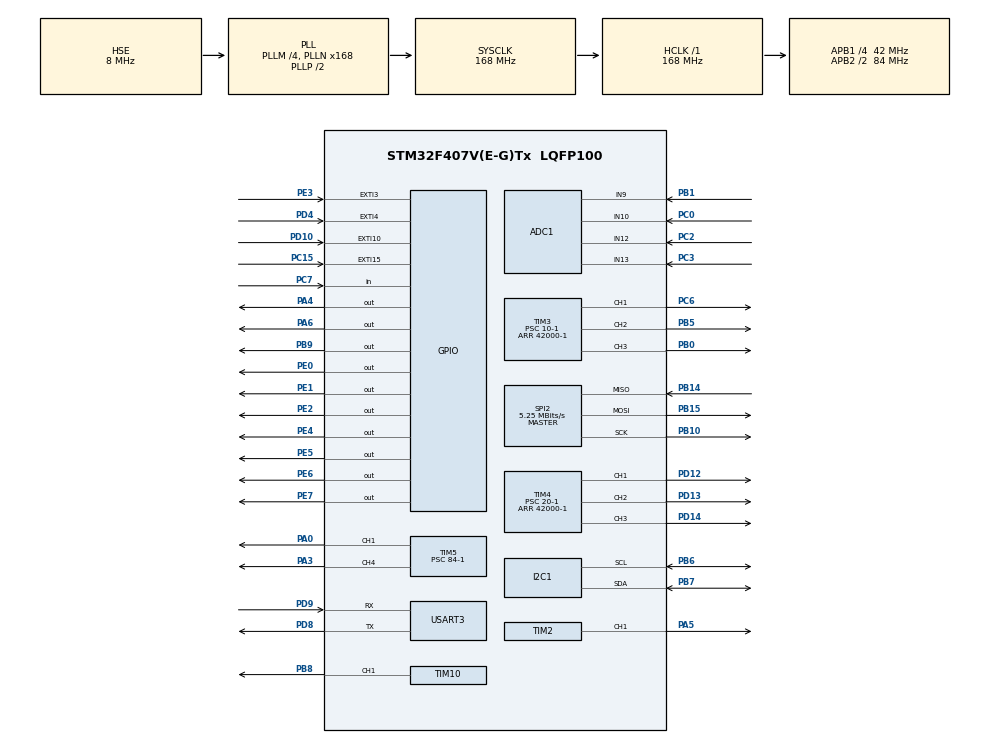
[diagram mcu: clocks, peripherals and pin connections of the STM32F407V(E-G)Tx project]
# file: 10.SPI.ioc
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ADC1.Channel-0\#ChannelRegularConversion=ADC_CHANNEL_10
ADC1.Channel-1\#ChannelRegularConversion=ADC_CHANNEL_12
ADC1.Channel-2\#ChannelRegularConversion=ADC_CHANNEL_13
ADC1.Channel-3\#ChannelRegularConversion=ADC_CHANNEL_9
ADC1.ContinuousConvMode=ENABLE
ADC1.DMAContinuousRequests=ENABLE
ADC1.NbrOfConversion=4
ADC1.NbrOfConversionFlag=1
ADC1.Rank-0\#ChannelRegularConversion=1
ADC1.Rank-1\#ChannelRegularConversion=2
ADC1.Rank-2\#ChannelRegularConversion=3
ADC1.Rank-3\#ChannelRegularConversion=4
ADC1.SamplingTime-0\#ChannelRegularConversion=ADC_SAMPLETIME_84CYCLES
ADC1.SamplingTime-1\#ChannelRegularConversion=ADC_SAMPLETIME_84CYCLES
ADC1.SamplingTime-2\#ChannelRegularConversion=ADC_SAMPLETIME_84CYCLES
ADC1.SamplingTime-3\#ChannelRegularConversion=ADC_SAMPLETIME_84CYCLES
ADC1.ScanConvMode=ENABLE
ADC1.master=1
Dma.ADC1.0.Direction=DMA_PERIPH_TO_MEMORY
Dma.ADC1.0.FIFOMode=DMA_FIFOMODE_DISABLE
Dma.ADC1.0.Instance=DMA2_Stream0
Dma.ADC1.0.MemDataAlignment=DMA_MDATAALIGN_HALFWORD
Dma.ADC1.0.MemInc=DMA_MINC_ENABLE
Dma.ADC1.0.Mode=DMA_CIRCULAR
Dma.ADC1.0.PeriphDataAlignment=DMA_PDATAALIGN_HALFWORD
Dma.ADC1.0.PeriphInc=DMA_PINC_DISABLE
Dma.ADC1.0.Priority=DMA_PRIORITY_LOW
Dma.Request0=ADC1
I2C1.I2C_Mode=I2C_Fast
Mcu.Family=STM32F4
Mcu.Name=STM32F407V(E-G)Tx
Mcu.Package=LQFP100
NVIC.DMA2_Stream0_IRQn=true\:0\:0\:false\:false\:true\:false\:true\:true
NVIC.EXTI15_10_IRQn=true\:0\:0\:false\:true\:true\:5\:true\:true\:true
NVIC.EXTI3_IRQn=true\:0\:0\:false\:true\:true\:3\:true\:true\:true
NVIC.EXTI4_IRQn=true\:0\:0\:false\:true\:true\:4\:true\:true\:true
NVIC.PriorityGroup=NVIC_PRIORITYGROUP_4
NVIC.TIM7_IRQn=true\:0\:0\:false\:true\:true\:2\:true\:true\:true
NVIC.USART3_IRQn=true\:0\:0\:false\:true\:true\:1\:true\:true\:true
PA0-WKUP.Signal=S_TIM5_CH1
PA3.Signal=S_TIM5_CH4
PA4.Signal=GPIO_Output
PA5.Signal=S_TIM2_CH1_ETR
PA6.Signal=GPIO_Output
PB0.Signal=S_TIM3_CH3
PB1.Signal=ADCx_IN9
PB10.Mode=Full_Duplex_Master
PB10.Signal=SPI2_SCK
PB14.Mode=Full_Duplex_Master
PB14.Signal=SPI2_MISO
PB15.Mode=Full_Duplex_Master
PB15.Signal=SPI2_MOSI
PB5.Signal=S_TIM3_CH2
PB6.Mode=I2C
PB6.Signal=I2C1_SCL
PB7.Mode=I2C
PB7.Signal=I2C1_SDA
PB8.Signal=S_TIM10_CH1
PB9.Signal=GPIO_Output
PC0.Signal=ADCx_IN10
PC15-OSC32_OUT.Signal=GPXTI15
PC2.Signal=ADCx_IN12
PC3.Signal=ADCx_IN13
PC6.Signal=S_TIM3_CH1
PC7.Signal=GPIO_Input
PD10.Signal=GPXTI10
PD12.Signal=S_TIM4_CH1
PD13.Signal=S_TIM4_CH2
PD14.Signal=S_TIM4_CH3
PD4.Signal=GPXTI4
PD8.Mode=Asynchronous
PD8.Signal=USART3_TX
PD9.Mode=Asynchronous
PD9.Signal=USART3_RX
PE0.Signal=GPIO_Output
PE1.Signal=GPIO_Output
PE2.Signal=GPIO_Output
PE3.Signal=GPXTI3
PE4.Signal=GPIO_Output
PE5.Signal=GPIO_Output
PE6.Signal=GPIO_Output
PE7.Signal=GPIO_Output
PH0-OSC_IN.Mode=HSE-External-Oscillator
PH0-OSC_IN.Signal=RCC_OSC_IN
PH1-OSC_OUT.Mode=HSE-External-Oscillator
PH1-OSC_OUT.Signal=RCC_OSC_OUT
ProjectManager.HeapSize=0x200
ProjectManager.StackSize=0x400
ProjectManager.TargetToolchain=STM32CubeIDE
RCC.48MHZClocksFreq_Value=84000000
RCC.AHBFreq_Value=168000000
RCC.APB1CLKDivider=RCC_HCLK_DIV4
RCC.APB1Freq_Value=42000000
RCC.APB1TimFreq_Value=84000000
RCC.APB2CLKDivider=RCC_HCLK_DIV2
RCC.APB2Freq_Value=84000000
RCC.APB2TimFreq_Value=168000000
RCC.CortexFreq_Value=168000000
RCC.HCLKFreq_Value=168000000
RCC.HSE_VALUE=8000000
RCC.HSI_VALUE=16000000
RCC.LSE_VALUE=32768
RCC.PLLM=4
RCC.PLLN=168
RCC.PLLSourceVirtual=RCC_PLLSOURCE_HSE
RCC.SYSCLKFreq_VALUE=168000000
RCC.SYSCLKSource=RCC_SYSCLKSOURCE_PLLCLK
RCC.VCOOutputFreq_Value=336000000
SH.ADCx_IN10.0=ADC1_IN10,IN10
SH.ADCx_IN12.0=ADC1_IN12,IN12
SH.ADCx_IN13.0=ADC1_IN13,IN13
SH.ADCx_IN9.0=ADC1_IN9,IN9
SH.S_TIM10_CH1.0=TIM10_CH1,PWM Generation1 CH1
SH.S_TIM2_CH1_ETR.0=TIM2_CH1,PWM Generation1 CH1
SH.S_TIM3_CH1.0=TIM3_CH1,PWM Generation1 CH1
SH.S_TIM3_CH2.0=TIM3_CH2,PWM Generation2 CH2
SH.S_TIM3_CH3.0=TIM3_CH3,PWM Generation3 CH3
SH.S_TIM4_CH1.0=TIM4_CH1,PWM Generation1 CH1
SH.S_TIM4_CH2.0=TIM4_CH2,PWM Generation2 CH2
SH.S_TIM4_CH3.0=TIM4_CH3,PWM Generation3 CH3
SH.S_TIM5_CH1.0=TIM5_CH1,PWM Generation1 CH1
SH.S_TIM5_CH4.0=TIM5_CH4,PWM Generation4 CH4
SPI2.BaudRatePrescaler=SPI_BAUDRATEPRESCALER_8
SPI2.CLKPhase=SPI_PHASE_2EDGE
SPI2.CLKPolarity=SPI_POLARITY_HIGH
SPI2.CalculateBaudRate=5.25 MBits/s
SPI2.Direction=SPI_DIRECTION_2LINES
SPI2.Mode=SPI_MODE_MASTER
SPI2.VirtualType=VM_MASTER
TIM10.Channel=TIM_CHANNEL_1
TIM10.Period=10000-1
TIM10.Prescaler=336-1
TIM10.Pulse=100
TIM2.Channel-PWM\ Generation1\ CH1=TIM_CHANNEL_1
TIM2.Period=1000-1
TIM2.Prescaler=168-1
TIM2.Pulse-PWM\ Generation1\ CH1=500
TIM3.Channel-PWM\ Generation1\ CH1=TIM_CHANNEL_1
TIM3.Channel-PWM\ Generation2\ CH2=TIM_CHANNEL_2
TIM3.Channel-PWM\ Generation3\ CH3=TIM_CHANNEL_3
TIM3.Period=42000-1
TIM3.Prescaler=10-1
TIM3.Pulse-PWM\ Generation1\ CH1=21000-1
TIM3.Pulse-PWM\ Generation2\ CH2=10500-1
TIM3.Pulse-PWM\ Generation3\ CH3=5250-1
TIM4.Channel-PWM\ Generation1\ CH1=TIM_CHANNEL_1
TIM4.Channel-PWM\ Generation2\ CH2=TIM_CHANNEL_2
TIM4.Channel-PWM\ Generation3\ CH3=TIM_CHANNEL_3
TIM4.Period=42000-1
TIM4.Prescaler=20-1
TIM4.Pulse-PWM\ Generation1\ CH1=21000-1
TIM4.Pulse-PWM\ Generation2\ CH2=10500-1
TIM4.Pulse-PWM\ Generation3\ CH3=5250-1
TIM5.Channel-PWM\ Generation1\ CH1=TIM_CHANNEL_1
TIM5.Channel-PWM\ Generation4\ CH4=TIM_CHANNEL_4
TIM5.Period=10000-1
TIM5.Prescaler=84-1
TIM5.Pulse-PWM\ Generation1\ CH1=5000
TIM7.Period=8399
TIM7.Prescaler=9999
USART3.VirtualMode=VM_ASYNC
VP_TIM10_VS_ClockSourceINT.Mode=Enable_Timer
VP_TIM2_VS_ClockSourceINT.Mode=Internal
VP_TIM3_VS_ClockSourceINT.Mode=Internal
VP_TIM4_VS_ClockSourceINT.Mode=Internal
VP_TIM5_VS_ClockSourceINT.Mode=Internal
VP_TIM7_VS_ClockSourceINT.Mode=Enable_Timer
board=custom

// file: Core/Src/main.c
/* USER CODE BEGIN Header */
/**
  ******************************************************************************
  * @file           : main.c
  * @brief          : Main program body
  ******************************************************************************
  * @attention
  *
  * Copyright (c) 2024 STMicroelectronics.
  * All rights reserved.
  *
  * This software is licensed under terms that can be found in the LICENSE file
  * in the root directory of this software component.
  * If no LICENSE file comes with this software, it is provided AS-IS.
  *
  ******************************************************************************
  */
/* USER CODE END Header */
#include "main.h"
#include "adc.h"
#include "dma.h"
#include "i2c.h"
#include "spi.h"
#include "tim.h"
#include "usart.h"
#include "gpio.h"

/* USER CODE BEGIN Includes */
#include "CLCD.h"
#include "7SEG.h"
#include  <stdio.h>
#include "VS1003.h"
#include "MP3Sample.h"
/* USER CODE END Includes */

/* USER CODE BEGIN PV */
 uint8_t rx3_data;
/* USER CODE END PV */

void SystemClock_Config(void);
static void MX_NVIC_Init(void);

int main(void)
{
  /* USER CODE BEGIN 1 */
	uint16_t adcval[4];
  /* USER CODE END 1 */

  /* MCU Configuration--------------------------------------------------------*/

  /* Reset of all peripherals, Initializes the Flash interface and the Systick. */
  HAL_Init();

  /* Configure the system clock */
  SystemClock_Config();

  /* Initialize all configured peripherals */
  MX_GPIO_Init();
  MX_DMA_Init();
  MX_USART3_UART_Init();
  MX_TIM7_Init();
  MX_TIM3_Init();
  MX_TIM4_Init();
  MX_TIM10_Init();
  MX_TIM2_Init();
  MX_TIM5_Init();
  MX_ADC1_Init();
  MX_I2C1_Init();
  MX_SPI2_Init();

  /* Initialize interrupts */
  MX_NVIC_Init();
  /* USER CODE BEGIN 2 */
  HAL_GPIO_WritePin(GPIOD, GPIO_PIN_12, GPIO_PIN_SET);
  HAL_GPIO_WritePin(GPIOD, GPIO_PIN_13, GPIO_PIN_SET);
  HAL_GPIO_WritePin(GPIOD, GPIO_PIN_14, GPIO_PIN_SET);

  HAL_GPIO_WritePin(GPIOC, GPIO_PIN_6, GPIO_PIN_SET);
  HAL_GPIO_WritePin(GPIOB, GPIO_PIN_5, GPIO_PIN_SET);
  HAL_GPIO_WritePin(GPIOB, GPIO_PIN_0, GPIO_PIN_SET);

  HAL_UART_Receive_IT(&huart3, &rx3_data, 1);
  HAL_TIM_Base_Start_IT(&htim7);

  CLCD_GPIO_Init();
  CLCD_Init();
  CLCD_Puts(0, 0, "hello world");

  _7SEG_GPIO_Init();

  HAL_TIM_PWM_Start(&htim3, TIM_CHANNEL_1);
  HAL_TIM_PWM_Start(&htim3, TIM_CHANNEL_2);
  HAL_TIM_PWM_Start(&htim3, TIM_CHANNEL_3);

  HAL_TIM_PWM_Start(&htim4, TIM_CHANNEL_1);
  HAL_TIM_PWM_Start(&htim4, TIM_CHANNEL_2);
  HAL_TIM_PWM_Start(&htim4, TIM_CHANNEL_3);

  HAL_TIM_PWM_Start(&htim10, TIM_CHANNEL_1);
//  HAL_TIM_PWM_Start(&htim2, TIM_CHANNEL_1);

  HAL_TIM_PWM_Start(&htim5, TIM_CHANNEL_1);
  HAL_TIM_PWM_Start(&htim5, TIM_CHANNEL_4);

  HAL_ADC_Start_DMA(&hadc1, &adcval[0], 4);
//  HAL_DAC_Start(&hdac, DAC_CHANNEL_1);

  TIM10->CCR1 = 1500;
  TIM2->ARR = 500 -1;
  TIM2 ->CCR1 = 250;

  VS1003_Init();
  VS1003_SoftReset();
  /* USER CODE END 2 */

  /* Infinite loop */
  /* USER CODE BEGIN WHILE */
  uint8_t a = 0;
  uint8_t str[20];
  uint16_t ccr = 100;
  uint8_t eeprom[10] = {0x00,0x11,0x22,0x33,0x44,0x55,0x66,0x77,0x88,0x99};

  HAL_I2C_Mem_Write(&hi2c1, 0xA0, 0x00,I2C_MEMADD_SIZE_8BIT, &eeprom[0],10,10);

  HAL_Delay(3);
  for(int i  = 0; i<10;i++){
	  eeprom[i] = 0x00;
  }
  HAL_I2C_Mem_Read(&hi2c1, 0xA0, 0x00,I2C_MEMADD_SIZE_8BIT, &eeprom[0],10,10);
  sprintf(str,"%02x %02x %02x %02x %02x",eeprom[0],eeprom[1],eeprom[2],eeprom[3],eeprom[4]);
  CLCD_Puts(0, 0, str);
  sprintf(str,"%02x %02x %02x %02x %02x",eeprom[5],eeprom[6],eeprom[7],eeprom[8],eeprom[9]);
  CLCD_Puts(0, 1, str);

  int i =0;
  while(1)
  {
	  if(MP3_DREQ ==1)
	  {
		  if(sizeof(MP3_DATA) > i)
		  {
		  VS1003_WriteData(&MP3_DATA[i]);
		  i +=32;
		  }
	  }
    /* USER CODE END WHILE */

  }
}

void SystemClock_Config(void)
{
  RCC_OscInitTypeDef RCC_OscInitStruct = {0};
  RCC_ClkInitTypeDef RCC_ClkInitStruct = {0};

  /** Configure the main internal regulator output voltage
  */
  __HAL_RCC_PWR_CLK_ENABLE();
  __HAL_PWR_VOLTAGESCALING_CONFIG(PWR_REGULATOR_VOLTAGE_SCALE1);

  /** Initializes the RCC Oscillators according to the specified parameters
  * in the RCC_OscInitTypeDef structure.
  */
  RCC_OscInitStruct.OscillatorType = RCC_OSCILLATORTYPE_HSE;
  RCC_OscInitStruct.HSEState = RCC_HSE_ON;
  RCC_OscInitStruct.PLL.PLLState = RCC_PLL_ON;
  RCC_OscInitStruct.PLL.PLLSource = RCC_PLLSOURCE_HSE;
  RCC_OscInitStruct.PLL.PLLM = 4;
  RCC_OscInitStruct.PLL.PLLN = 168;
  RCC_OscInitStruct.PLL.PLLP = RCC_PLLP_DIV2;
  RCC_OscInitStruct.PLL.PLLQ = 4;
  if (HAL_RCC_OscConfig(&RCC_OscInitStruct) != HAL_OK)
  {
    Error_Handler();
  }

  /** Initializes the CPU, AHB and APB buses clocks
  */
  RCC_ClkInitStruct.ClockType = RCC_CLOCKTYPE_HCLK|RCC_CLOCKTYPE_SYSCLK
                              |RCC_CLOCKTYPE_PCLK1|RCC_CLOCKTYPE_PCLK2;
  RCC_ClkInitStruct.SYSCLKSource = RCC_SYSCLKSOURCE_PLLCLK;
  RCC_ClkInitStruct.AHBCLKDivider = RCC_SYSCLK_DIV1;
  RCC_ClkInitStruct.APB1CLKDivider = RCC_HCLK_DIV4;
  RCC_ClkInitStruct.APB2CLKDivider = RCC_HCLK_DIV2;

  if (HAL_RCC_ClockConfig(&RCC_ClkInitStruct, FLASH_LATENCY_5) != HAL_OK)
  {
    Error_Handler();
  }
}

/**
  * @brief NVIC Configuration.
  * @retval None
  */
static void MX_NVIC_Init(void)
{
  /* USART3_IRQn interrupt configuration */
  HAL_NVIC_SetPriority(USART3_IRQn, 0, 0);
  HAL_NVIC_EnableIRQ(USART3_IRQn);
  /* TIM7_IRQn interrupt configuration */
  HAL_NVIC_SetPriority(TIM7_IRQn, 0, 0);
  HAL_NVIC_EnableIRQ(TIM7_IRQn);
  /* EXTI3_IRQn interrupt configuration */
  HAL_NVIC_SetPriority(EXTI3_IRQn, 0, 0);
  HAL_NVIC_EnableIRQ(EXTI3_IRQn);
  /* EXTI4_IRQn interrupt configuration */
  HAL_NVIC_SetPriority(EXTI4_IRQn, 0, 0);
  HAL_NVIC_EnableIRQ(EXTI4_IRQn);
  /* EXTI15_10_IRQn interrupt configuration */
  HAL_NVIC_SetPriority(EXTI15_10_IRQn, 0, 0);
  HAL_NVIC_EnableIRQ(EXTI15_10_IRQn);
}

/* USER CODE BEGIN 4 */
void HAL_UART_RxCpltCallback(UART_HandleTypeDef *huart)
{
  if(huart->Instance == USART3)
  {
	  HAL_UART_Receive_IT(&huart3, &rx3_data, 10);
	  HAL_UART_Transmit(&huart3, &rx3_data, 1, 10);
  }
}
void HAL_TIM_PeriodElapsedCallback(TIM_HandleTypeDef *htim)
{
  if(htim->Instance == TIM7)
  {

  }
}

void HAL_GPIO_EXTI_Callback(uint16_t GPIO_Pin)
{
  if(GPIO_Pin == GPIO_PIN_3)
  {
	  HAL_GPIO_TogglePin(GPIOD, GPIO_PIN_12);
  }
  if(GPIO_Pin == GPIO_PIN_15)
  {
	  HAL_GPIO_TogglePin(GPIOD, GPIO_PIN_13);
  }
  if(GPIO_Pin == GPIO_PIN_4)
  {
	  HAL_GPIO_TogglePin(GPIOD, GPIO_PIN_14);
  }
  if(GPIO_Pin == GPIO_PIN_10)
  {
	  HAL_GPIO_TogglePin(GPIOB, GPIO_PIN_0);
  }

}
/* USER CODE END 4 */

void Error_Handler(void)
{
  __disable_irq();
  while (1)
  {
  }
}
